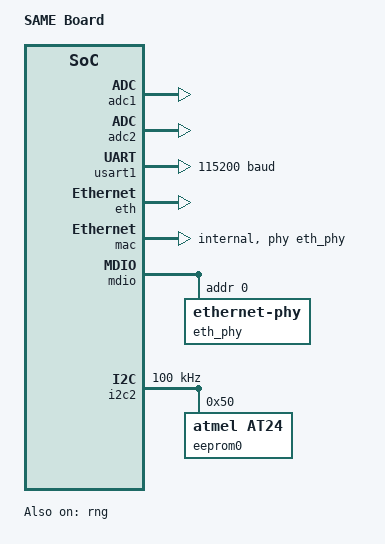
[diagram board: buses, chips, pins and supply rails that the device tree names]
/dts-v1/;
#include <wch/ch32v307/ch32v307vc.dtsi>
#include <zephyr/dt-bindings/gpio/gpio.h>
#include <zephyr/dt-bindings/pinctrl/ch32v20x_30x-pinctrl.h>
#include <zephyr/dt-bindings/clock/ch32v20x_30x-clocks.h>
#include <zephyr/dt-bindings/i2c/i2c.h>

/* O header de pinctrl não define grupos de remap para os ADCs (entrada
 * analógica não é multiplexada — o pino só entra em modo analógico). Como
 * na siba_board, declaramos os grupos aqui para o CH32V20X_V30X_PINMUX_DEFINE
 * resolver. ADC1 e ADC2 compartilham fisicamente os pinos PAx (ADC1_INn e
 * ADC2_INn são o MESMO pino); o número do canal = número do pino. */
#define CH32V20X_V30X_PINMUX_ADC1_RM 0
#define CH32V20X_V30X_PINMUX_ADC2_RM 0
/* I2C2 não tem remap no AFIO (pinos fixos PB10/PB11) — mesmo padrão do ADC */
#define CH32V20X_V30X_PINMUX_I2C2_RM 0

/ {
    model = "SAME Board";
    compatible = "wch,ch32v307";

    chosen {
        zephyr,sram = &sram0;
        zephyr,flash = &flash0;
        zephyr,console = &usart1;
        zephyr,shell-uart = &usart1;
    };

    /* ================================================================ *
     * ADC1 — três TENSÕES de fase (V_a, V_b, V_c)                       *
     *   CH0 = PA0 = V_a   CH1 = PA1 = V_b   CH3 = PA3 = V_c             *
     * PA2 reservado para W25Q (SPI flash) — não usar aqui.              *
     * DMA1 canal 1 (IRQ 27).                                            *
     * ================================================================ */
    adc1: adc@40012400 {
        compatible = "wch,adc";
        reg = <0x40012400 0x400>;
        clocks = <&rcc CH32V20X_V30X_CLOCK_ADC1>;
        interrupt-parent = <&pfic>;
        interrupts = <34>;
        dmas = <&dma1 1>;
        dma-names = "rx";
        pinctrl-0 = <&adc1_default>;
        pinctrl-names = "default";
        status = "okay";
        #io-channel-cells = <1>;
    };

    /* ================================================================ *
     * ADC2 — três CORRENTES de fase (i_a, i_b, i_c) — ESCRAVO do ADC1  *
     *   CH10 = PC0 = i_a   CH11 = PC1 = i_b   CH12 = PC2 = i_c          *
     *                                                                    *
     * SEM `dmas` de propósito: o manual de referência (Table 11-2,     *
     * "Peripheral mapping table of each DMA1 channel") confirma que só *
     * o ADC1 tem linha de request de DMA no DMA1 — ADC2 não aparece em *
     * NENHUM dos 7 canais. Um ADC2 "independente" com DMA própria nunca*
     * completaria uma transferência (dava timeout sempre, no hardware  *
     * real — native_sim não pegava isso, pois emula por outro caminho).*
     * Por isso o driver (drivers/adc/adc_ch32v307.c) roda os dois em   *
     * modo DUAL SIMULTÂNEO (DUALMOD=Regular Simultaneous, registrador  *
     * ADC1_CTLR1): ADC1 dispara os dois ADCs ao MESMO TEMPO (V_a com   *
     * i_a, V_b com i_b, V_c com i_c — pareado por fase, essencial pro  *
     * Clarke/SMO), e o resultado combinado sai por UMA transferência   *
     * de DMA de 32 bits no canal do ADC1 (16 bits baixos=ADC1, altos=  *
     * ADC2). O driver detecta esse modo sozinho (via `has_dma` = ADC2  *
     * não ter `dmas` no DTS) — não precisa de propriedade nova aqui.   *
     * ================================================================ */
    adc2: adc@40012800 {
        compatible = "wch,adc";
        reg = <0x40012800 0x400>;
        clocks = <&rcc CH32V20X_V30X_CLOCK_ADC2>;
        interrupt-parent = <&pfic>;
        interrupts = <34>;
        pinctrl-0 = <&adc2_default>;
        pinctrl-names = "default";
        status = "okay";
        #io-channel-cells = <1>;
    };
};

/* ==================================================================== *
 * PINCTRL                                                              *
 * ==================================================================== */
&pinctrl {

    adc1_default: adc1_default {
        group1 { pinmux = <CH32V20X_V30X_PINMUX_DEFINE(PA, 0, ADC1, 0)>; };  /* CH0  - V_a */
        group2 { pinmux = <CH32V20X_V30X_PINMUX_DEFINE(PA, 1, ADC1, 0)>; };  /* CH1  - V_b */
        group3 { pinmux = <CH32V20X_V30X_PINMUX_DEFINE(PA, 3, ADC1, 0)>; };  /* CH3  - V_c (PA2 = W25Q) */
    };

    adc2_default: adc2_default {
        group1 { pinmux = <CH32V20X_V30X_PINMUX_DEFINE(PC, 0, ADC2, 0)>; };  /* CH10 - i_a */
        group2 { pinmux = <CH32V20X_V30X_PINMUX_DEFINE(PC, 1, ADC2, 0)>; };  /* CH11 - i_b */
        group3 { pinmux = <CH32V20X_V30X_PINMUX_DEFINE(PC, 2, ADC2, 0)>; };  /* CH12 - i_c */
    };

    usart1_default: usart1_default {
        group1 {
            pinmux = <USART1_TX_PA9_0>;
            output-high;
            drive-push-pull;
            slew-rate = "max-speed-10mhz";
        };
        group2 {
            pinmux = <USART1_RX_PA10_0>;
            bias-pull-up;
        };
    };

    mac_default: mac_default {
        mac_internal_rxp {
            pinmux = <CH32V20X_V30X_PINMUX_DEFINE(PC, 6, ETH, 0)>;
            slew-rate = "max-speed-50mhz";
        };
        mac_internal_rxn {
            pinmux = <CH32V20X_V30X_PINMUX_DEFINE(PC, 7, ETH, 0)>;
            slew-rate = "max-speed-50mhz";
        };
        mac_internal_txp {
            pinmux = <CH32V20X_V30X_PINMUX_DEFINE(PC, 8, ETH, 0)>;
            slew-rate = "max-speed-50mhz";
        };
        mac_internal_txn {
            pinmux = <CH32V20X_V30X_PINMUX_DEFINE(PC, 9, ETH, 0)>;
            slew-rate = "max-speed-50mhz";
        };
    };

    mdio_default: mdio_default {
        /* PHY interno - sem pinos MDIO externos necessarios */
    };

    /* ================================================================ *
     * I2C2 — EEPROM FT24C32A-ETR-T (PB10=SCL, PB11=SDA)              *
     * Pinos fixos, sem remap no AFIO. Open-drain com pull-up externo. *
     * ================================================================ */
    i2c2_default: i2c2_default {
        group1 {
            pinmux = <CH32V20X_V30X_PINMUX_DEFINE(PB, 10, I2C2, 0)>;
            output-high;
            drive-open-drain;
        };
        group2 {
            pinmux = <CH32V20X_V30X_PINMUX_DEFINE(PB, 11, I2C2, 0)>;
            output-high;
            drive-open-drain;
        };
    };

    /* ================================================================ *
     * SPI flash (chip não identificado) — PA2/PA5/PA6/PA7             *
     * PA2 = ADC1_CH2 (V_c)  PA5 = ADC2_CH5 (i_c)                     *
     * CONFLITO com ADC1/ADC2 — não pode ser usado na SAME. Ignorar.   *
     * ================================================================ */
};

/* ==================================================================== *
 * CLOCKS / PERIFÉRICOS                                                  *
 * ==================================================================== */
&clk_hse { status = "okay"; };
&pll { clocks = <&clk_hse>; status = "okay"; };
&rcc { clocks = <&pll>; };

&gpioa { status = "okay"; };
&gpiob { status = "okay"; };
&gpioc { status = "okay"; };

/* dma1 "disabled" como CONTROLLER genérico Zephyr (dma_wch.c): o driver
 * adc_ch32v307.c NÃO usa a API genérica de DMA (faz MMIO direto), só precisa
 * da célula "channel" de `dmas = <&dma1 N>` (resolvida em compilação). Ver
 * mesma nota em siba_board.dts. */
&dma1 { status = "disabled"; };

&usart1 {
    status = "okay";
    current-speed = <115200>;
    pinctrl-0 = <&usart1_default>;
    pinctrl-names = "default";
};

/* Ethernet — mesma configuração validada na SIBA (MAC interno + PHY interno). */
&eth {
    status = "okay";
};

&mac {
    status = "okay";
    pinctrl-0 = <&mac_default>;
    pinctrl-names = "default";
    phy-connection-type = "internal";
    phy-handle = <&eth_phy>;
    local-mac-address = [02 00 00 02 03 04];
    internal-phy-pllmul = "15";
    internal-phy-prediv = "2";
};

&mdio {
    status = "okay";
    pinctrl-0 = <&mdio_default>;
    pinctrl-names = "default";
    eth_phy: ethernet-phy@0 {
        compatible = "ethernet-phy";
        reg = <0x00>;
    };
};

&rng { status = "okay"; };

/* EEPROM FT24C32A (I2C2, 4 KB) — A0=A1=A2=GND → endereço 0x50.
 * FT24C32A é compatível com AT24C32 (endurance 1 M ciclos). */
&i2c2 {
    status = "okay";
    pinctrl-0 = <&i2c2_default>;
    pinctrl-names = "default";
    clock-frequency = <100000>;

    eeprom0: eeprom@50 {
        compatible = "atmel,at24";
        reg = <0x50>;
        size = <4096>;
        pagesize = <32>;
        address-width = <16>;
        timeout = <5>;
    };
};

&sram0 { reg = <0x20000000 DT_SIZE_K(128)>; };
&flash0 { reg = <0x08000000 DT_SIZE_K(198)>; };
